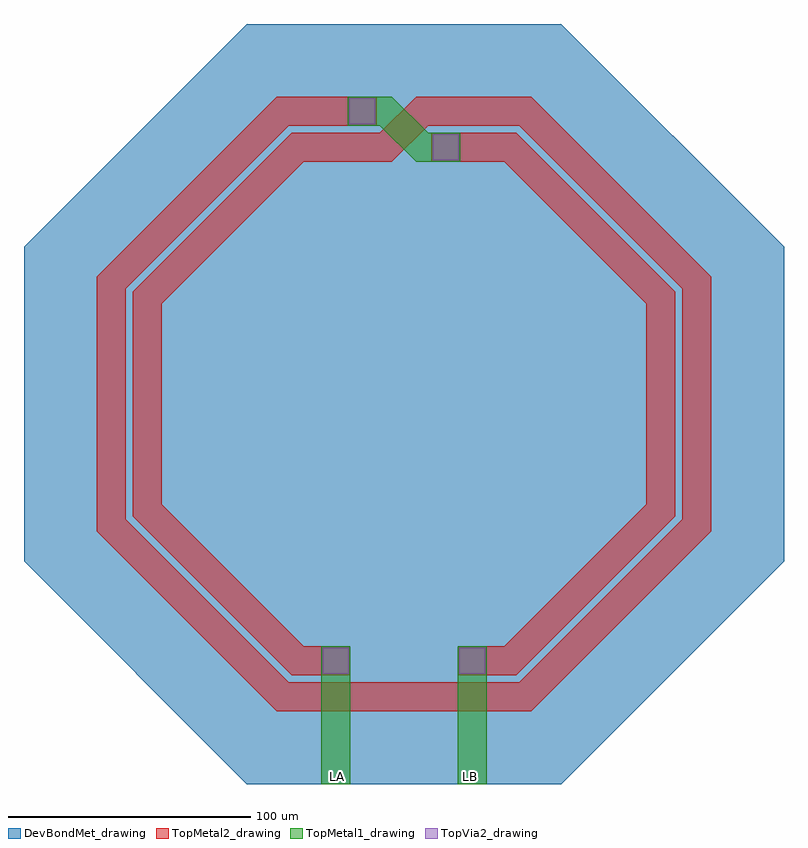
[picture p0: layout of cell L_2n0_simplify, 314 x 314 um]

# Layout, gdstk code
import gdstk
lib = gdstk.Library(unit=1e-6, precision=5e-09)
def R(c, l, rs):  # rectangles x0, y0, x1, y1
    for r in rs: c.add(gdstk.rectangle(r[:2], r[2:], *l))
def P(c, l, *ps):  # polygons
    for p in ps: c.add(gdstk.Polygon(p, *l))
DevBondMet_drawing = (75, 0)
TopMetal1_drawing = (126, 0)
TopVia2_drawing = (133, 0)
TopMetal2_drawing = (134, 0)

l_2n0_simplify = lib.new_cell('L_2n0_simplify')
P(l_2n0_simplify, DevBondMet_drawing, [(-157,91.97),(-65.03,0),(65.03,0),(157,91.97),(157,222.03),(65.03,314),(-65.03,314),(-157,222.03)])
R(l_2n0_simplify, TopMetal1_drawing, [(-34.2,0,-22.2,57), (22.2,0,34.2,57)])
P(l_2n0_simplify, TopMetal1_drawing, [(-23.23,272),(-9.985,272),(5.015,257),(23.23,257),(23.23,269),(9.985,269),(-5.015,284),(-23.23,284)])
R(l_2n0_simplify, TopVia2_drawing, [(-33.58,45.62,-22.83,56.37), (22.82,45.62,33.57,56.37), (11.85,257.62,22.6,268.37), (-22.61,272.62,-11.86,283.37)])
P(l_2n0_simplify, TopMetal2_drawing, [(11.23,257),(41.425,257),(100,198.425),(100,115.575),(41.425,57),(22.2,57),(22.2,45),(46.395,45),(112,110.605),(112,203.395),(46.395,269),(11.23,269)],
  [(-100,115.575),(-100,198.425),(-41.425,257),(-5.015,257),(9.985,272),(47.635,272),(115,204.635),(115,109.365),(47.635,42),(-47.635,42),(-115,109.365),(-115,204.635),(-47.635,272),(-11.23,272),(-11.23,284),(-52.605,284),(-127,209.605),(-127,104.395),(-52.605,30),(52.605,30),(127,104.395),(127,209.605),(52.605,284),(5.015,284),(-9.985,269),(-46.395,269),(-112,203.395),(-112,110.605),(-46.395,45),(-22.2,45),(-22.2,57),(-41.425,57)])
l_2n0_simplify.add(gdstk.Label('LB', (27.5,3), layer=63, texttype=0))
l_2n0_simplify.add(gdstk.Label('LA', (-27.5,3), layer=63, texttype=0))

lib.write_gds('L_2n0_simplify.gds')
